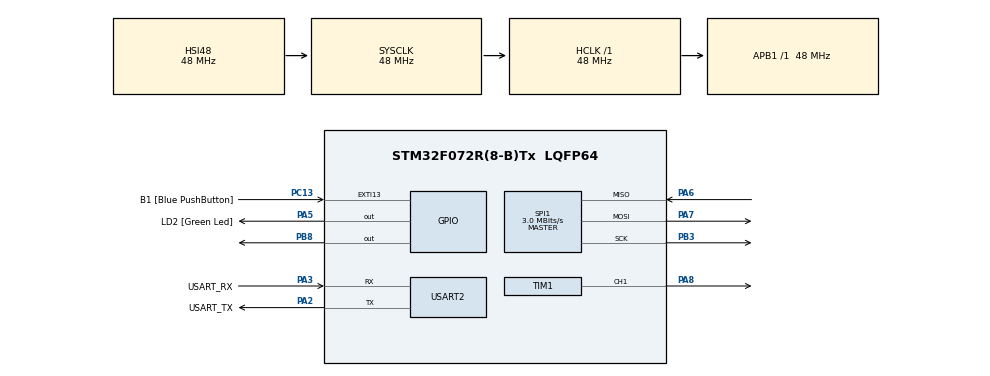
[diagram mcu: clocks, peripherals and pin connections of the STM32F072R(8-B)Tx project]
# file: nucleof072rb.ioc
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Mcu.Family=STM32F0
Mcu.Name=STM32F072R(8-B)Tx
Mcu.Package=LQFP64
PA13.GPIO_Label=TMS
PA13.Mode=Serial_Wire
PA13.Signal=SYS_SWDIO
PA14.GPIO_Label=TCK
PA14.Mode=Serial_Wire
PA14.Signal=SYS_SWCLK
PA2.GPIO_Label=USART_TX
PA2.GPIO_Mode=GPIO_MODE_AF_PP
PA2.GPIO_PuPd=GPIO_NOPULL
PA2.GPIO_Speed=GPIO_SPEED_FREQ_LOW
PA2.Mode=Asynchronous
PA2.Signal=USART2_TX
PA3.GPIO_Label=USART_RX
PA3.GPIO_Mode=GPIO_MODE_AF_PP
PA3.GPIO_PuPd=GPIO_NOPULL
PA3.GPIO_Speed=GPIO_SPEED_FREQ_LOW
PA3.Mode=Asynchronous
PA3.Signal=USART2_RX
PA5.GPIO_Label=LD2 [Green Led]
PA5.GPIO_Mode=GPIO_MODE_OUTPUT_PP
PA5.GPIO_PuPd=GPIO_NOPULL
PA5.GPIO_Speed=GPIO_SPEED_FREQ_LOW
PA5.Signal=GPIO_Output
PA6.Mode=Full_Duplex_Master
PA6.Signal=SPI1_MISO
PA7.Mode=Full_Duplex_Master
PA7.Signal=SPI1_MOSI
PA8.Signal=S_TIM1_CH1
PB3.Mode=Full_Duplex_Master
PB3.Signal=SPI1_SCK
PB8.Signal=GPIO_Output
PC13.GPIO_Label=B1 [Blue PushButton]
PC13.GPIO_ModeDefaultEXTI=GPIO_MODE_IT_FALLING
PC13.Signal=GPXTI13
PC14-OSC32_IN.Mode=LSE-External-Oscillator
PC14-OSC32_IN.Signal=RCC_OSC32_IN
PC15-OSC32_OUT.Mode=LSE-External-Oscillator
PC15-OSC32_OUT.Signal=RCC_OSC32_OUT
PF0-OSC_IN.Mode=HSE-External-Clock-Source
PF0-OSC_IN.Signal=RCC_OSC_IN
PF1-OSC_OUT.Signal=RCC_OSC_OUT
ProjectManager.HeapSize=0x200
ProjectManager.StackSize=0x400
ProjectManager.TargetToolchain=STM32CubeIDE
RCC.AHBFreq_Value=48000000
RCC.APB1Freq_Value=48000000
RCC.APB1TimFreq_Value=48000000
RCC.FLatency-AdvancedSettings=FLASH_LATENCY_1
RCC.HCLKFreq_Value=48000000
RCC.PLLDivider=RCC_PREDIV_DIV2
RCC.PLLMUL=RCC_PLL_MUL12
RCC.PREFETCH_ENABLE-AdvancedSettings=1
RCC.SYSCLKFreq_VALUE=48000000
RCC.SYSCLKSource=RCC_SYSCLKSOURCE_HSI48
SH.S_TIM1_CH1.0=TIM1_CH1,PWM Generation1 CH1
SPI1.BaudRatePrescaler=SPI_BAUDRATEPRESCALER_16
SPI1.CalculateBaudRate=3.0 MBits/s
SPI1.DataSize=SPI_DATASIZE_8BIT
SPI1.Direction=SPI_DIRECTION_2LINES
SPI1.Mode=SPI_MODE_MASTER
SPI1.VirtualType=VM_MASTER
TIM1.Channel-PWM\ Generation1\ CH1=TIM_CHANNEL_1
TIM1.Period=63999
TIM1.Prescaler=14
TIM1.Pulse-PWM\ Generation1\ CH1=1500
USART2.VirtualMode=VM_ASYNC
USART2.VirtualMode-Asynchronous=VM_ASYNC
board=NUCLEO-F072RB

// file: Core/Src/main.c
/* USER CODE BEGIN Header */
/**
  ******************************************************************************
  * @file           : main.c
  * @brief          : Main program body
  ******************************************************************************
  * @attention
  *
  * <h2><center>&copy; Copyright (c) 2021 STMicroelectronics.
  * All rights reserved.</center></h2>
  *
  * This software component is licensed by ST under BSD 3-Clause license,
  * the "License"; You may not use this file except in compliance with the
  * License. You may obtain a copy of the License at:
  *                        opensource.org/licenses/BSD-3-Clause
  *
  ******************************************************************************
  */
/* USER CODE END Header */
#include "main.h"
#include "spi.h"
#include "tim.h"
#include "usart.h"
#include "gpio.h"

/* USER CODE BEGIN PD */
#define adc_max_value      1023
#define motor_min_pulse    3200  // 1ms
#define motor_max_pulse    6400  // 2ms
/* USER CODE END PD */

void SystemClock_Config(void);

int main(void)
{

  /* MCU Configuration--------------------------------------------------------*/

  /* Reset of all peripherals, Initializes the Flash interface and the Systick. */
  HAL_Init();

  /* Configure the system clock */
  SystemClock_Config();

  /* Initialize all configured peripherals */
  MX_GPIO_Init();
  MX_USART2_UART_Init();
  MX_SPI1_Init();
  MX_TIM1_Init();
  /* USER CODE BEGIN 2 */
  HAL_TIM_PWM_Start(&htim1, TIM_CHANNEL_1);
  /* USER CODE END 2 */

  /* Infinite loop */
  /* USER CODE BEGIN WHILE */
  while (1)
  {
	  uint8_t spi_buff[3];
	  uint16_t adc_val = 0;

	  //1. prepare the MCP (start bit, single ended, channel 0)
	  spi_buff[0] = 0x01; // start bit
	  spi_buff[1] = 0x80; // single ended and channel 0
	  spi_buff[2] = 0x00; // dont care

	  //2. select the ADC (chip select low)
	  HAL_GPIO_WritePin(GPIOB, GPIO_PIN_8, GPIO_PIN_RESET);

	  //3. transmit command and recieve data
	  if(HAL_SPI_TransmitReceive(&hspi1, spi_buff, spi_buff, 3, 100) == HAL_OK)
	  {
		  // combine last 2 bits of byte 1 with all 8 bits of byte 2
		  adc_val = ((spi_buff[1] & 0x03) << 8) | spi_buff[2];
	  }

	  //4. deselect adc chip
	  HAL_GPIO_WritePin(GPIOB, GPIO_PIN_8, GPIO_PIN_SET);

	  //5. map the 10 bits adc to pwm pulse
	  uint32_t pulse_width = motor_min_pulse + (adc_val * (motor_max_pulse - motor_min_pulse) / adc_max_value);

	  __HAL_TIM_SET_COMPARE(&htim1, TIM_CHANNEL_1, pulse_width);

	  HAL_Delay(10);
    /* USER CODE END WHILE */

  }
}

void SystemClock_Config(void)
{
  RCC_OscInitTypeDef RCC_OscInitStruct = {0};
  RCC_ClkInitTypeDef RCC_ClkInitStruct = {0};
  RCC_PeriphCLKInitTypeDef PeriphClkInit = {0};

  /** Initializes the RCC Oscillators according to the specified parameters
  * in the RCC_OscInitTypeDef structure.
  */
  RCC_OscInitStruct.OscillatorType = RCC_OSCILLATORTYPE_HSI48;
  RCC_OscInitStruct.HSI48State = RCC_HSI48_ON;
  RCC_OscInitStruct.PLL.PLLState = RCC_PLL_NONE;
  if (HAL_RCC_OscConfig(&RCC_OscInitStruct) != HAL_OK)
  {
    Error_Handler();
  }
  /** Initializes the CPU, AHB and APB buses clocks
  */
  RCC_ClkInitStruct.ClockType = RCC_CLOCKTYPE_HCLK|RCC_CLOCKTYPE_SYSCLK
                              |RCC_CLOCKTYPE_PCLK1;
  RCC_ClkInitStruct.SYSCLKSource = RCC_SYSCLKSOURCE_HSI48;
  RCC_ClkInitStruct.AHBCLKDivider = RCC_SYSCLK_DIV1;
  RCC_ClkInitStruct.APB1CLKDivider = RCC_HCLK_DIV1;

  if (HAL_RCC_ClockConfig(&RCC_ClkInitStruct, FLASH_LATENCY_1) != HAL_OK)
  {
    Error_Handler();
  }
  PeriphClkInit.PeriphClockSelection = RCC_PERIPHCLK_USART2;
  PeriphClkInit.Usart2ClockSelection = RCC_USART2CLKSOURCE_PCLK1;
  if (HAL_RCCEx_PeriphCLKConfig(&PeriphClkInit) != HAL_OK)
  {
    Error_Handler();
  }
}

void Error_Handler(void)
{
  __disable_irq();
  while (1)
  {
  }
}

/************************ (C) COPYRIGHT STMicroelectronics *****END OF FILE****/
